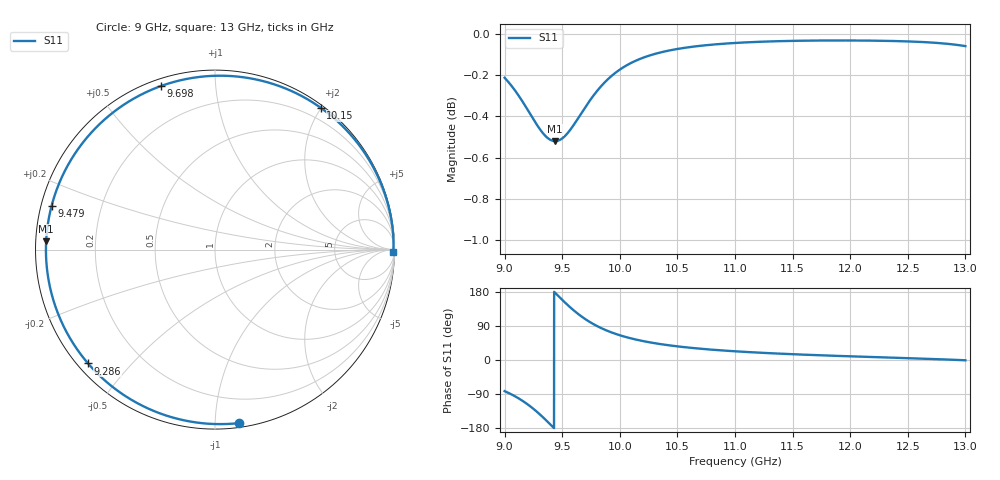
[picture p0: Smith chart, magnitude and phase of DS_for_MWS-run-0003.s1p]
! TOUCHSTONE file generated by CST DESIGN STUDIO
! Date and time: Tue Feb  4 14:20:48 2025
! Project name: C:\Work\MatlabApps\UnitCellOptimizationMatlab\CST\unitcell.cst
! Tree item: Tasks\Sweep1\SPara1\S-Parameters
! Header version: 2024
! Port assignment regex: !\s*Touchstone port\s*([0-9]+)\s*=\s*(CST MWS port|CST DES external port|CST DES block port)\s*(.+)\s* \(\"(.*)\"\)(\s*mode\s*([0-9]+))?.*
! Touchstone port assignment:
! Touchstone port 1 = CST DES external port 1 ("")
# GHz S MA R 50
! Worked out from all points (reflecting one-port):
!   4001 points, 9 GHz to 13 GHz, reference 50 ohm
!   lowest |S11| = -0.5 dB at 9.439 GHz (marker M1), VSWR 33.42, Z = 1.5 + j1.24 ohm
!   phase of S11 starts at -82 deg and turns -279 deg over the sweep
!   S11 on the Smith chart (normalised r, x): 9 GHz: 0.03, -1.15; 9.286 GHz: 0.03, -0.38; 9.479 GHz: 0.03, +0.13; 9.698 GHz: 0.03, +0.72; 10.15 GHz: 0.04, +1.99; 13 GHz: open
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9  0.9759 -82.1
9.087  0.9693 -95.2
9.159  0.9627 -108.4
9.224  0.9561 -122.6
9.286  0.95 -138.1
9.329  0.9464 -150.0
9.368  0.9438 -161.3
9.404  0.9424 -172.2
9.439  0.9419 177.2
9.479  0.9425 165.0
9.5  0.9433 158.7
9.551  0.9464 144.0
9.599  0.9504 131.2
9.647  0.9549 119.5
9.698  0.9597 108.4
9.766  0.9658 95.6
9.847  0.9719 83.0
9.921  0.9765 73.6
10  0.9804 65.3
10.149  0.9856 53.3
10.308  0.9891 44.1
10.5  0.9918 36.0
10.723  0.9937 29.1
11  0.9951 23.0
11.5  0.9963 15.3
12  0.9965 9.7
12.5  0.996 4.8
13  0.9933 -0.7
